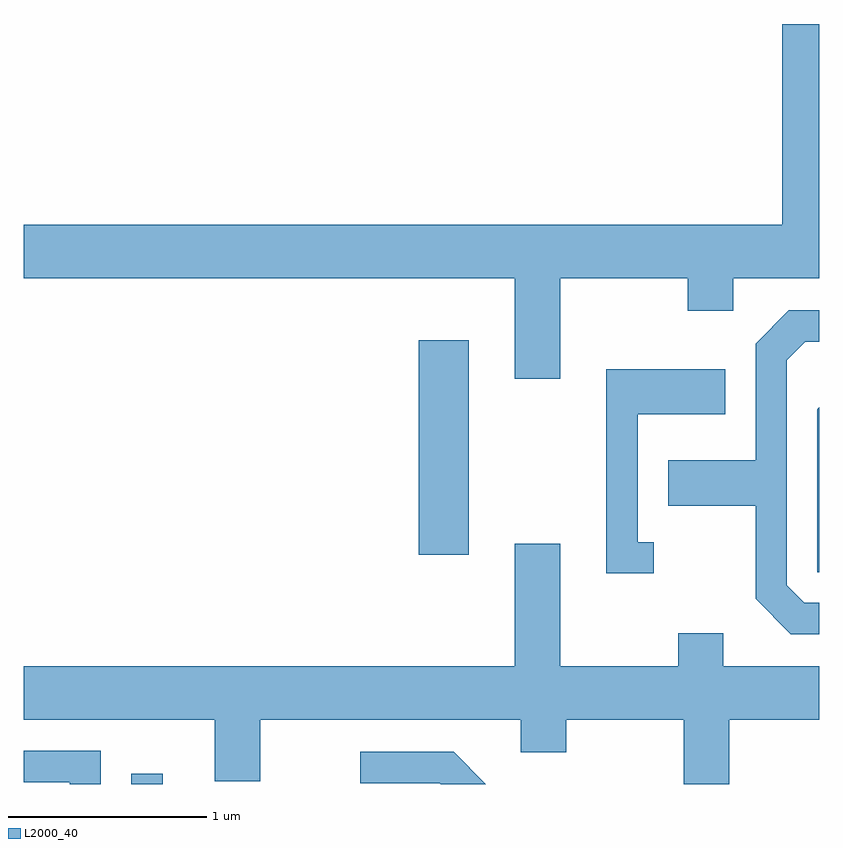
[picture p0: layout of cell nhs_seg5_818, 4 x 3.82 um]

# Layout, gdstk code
import gdstk
lib = gdstk.Library(unit=1e-6, precision=1e-09)
def R(c, l, rs):  # rectangles x0, y0, x1, y1
    for r in rs: c.add(gdstk.rectangle(r[:2], r[2:], *l))
def P(c, l, *ps):  # polygons
    for p in ps: c.add(gdstk.Polygon(p, *l))
L2000_40 = (2000, 40)

nhs_seg5_818 = lib.new_cell('nhs_seg5_818')
R(nhs_seg5_818, L2000_40, [(210.151,1412.072,210.309,1412.123), (211.596,1413.226,211.849,1414.304)])
P(nhs_seg5_818, L2000_40, [(212.309,1414.616),(212.951,1414.616),(212.951,1414.451),(213.179,1414.451),(213.179,1414.616),(213.611,1414.616),(213.611,1415.894),(213.426,1415.894),(213.426,1414.884),(209.611,1414.884),(209.611,1414.616),(212.081,1414.616),(212.081,1414.111),(212.309,1414.111)],
  [(213.611,1412.984),(213.537,1412.984),(213.449,1413.072),(213.449,1414.204),(213.542,1414.296),(213.611,1414.296),(213.611,1414.454),(213.459,1414.454),(213.291,1414.287),(213.291,1413.699),(212.851,1413.699),(212.851,1413.471),(213.291,1413.471),(213.291,1413.004),(213.469,1412.826),(213.611,1412.826)],
  [(212.778,1413.289),(212.699,1413.289),(212.699,1413.931),(213.139,1413.931),(213.139,1414.159),(212.541,1414.159),(212.541,1413.131),(212.778,1413.131)],
  [(213.611,1413.967),(213.601,1413.957),(213.601,1413.136),(213.611,1413.136)],
  [(213.159,1412.396),(213.611,1412.396),(213.611,1412.664),(213.129,1412.664),(213.129,1412.829),(212.901,1412.829),(212.901,1412.664),(212.309,1412.664),(212.309,1413.279),(212.081,1413.279),(212.081,1412.664),(209.611,1412.664),(209.611,1412.396),(210.571,1412.396),(210.571,1412.086),(210.799,1412.086),(210.799,1412.396),(212.111,1412.396),(212.111,1412.231),(212.339,1412.231),(212.339,1412.396),(212.931,1412.396),(212.931,1412.072),(213.159,1412.072)],
  [(209.999,1412.239),(209.611,1412.239),(209.611,1412.081),(209.841,1412.081),(209.841,1412.072),(209.999,1412.072)],
  [(211.772,1412.234),(211.303,1412.234),(211.303,1412.076),(211.704,1412.076),(211.708,1412.072),(211.934,1412.072)])

lib.write_gds('nhs_seg5_818.gds')
